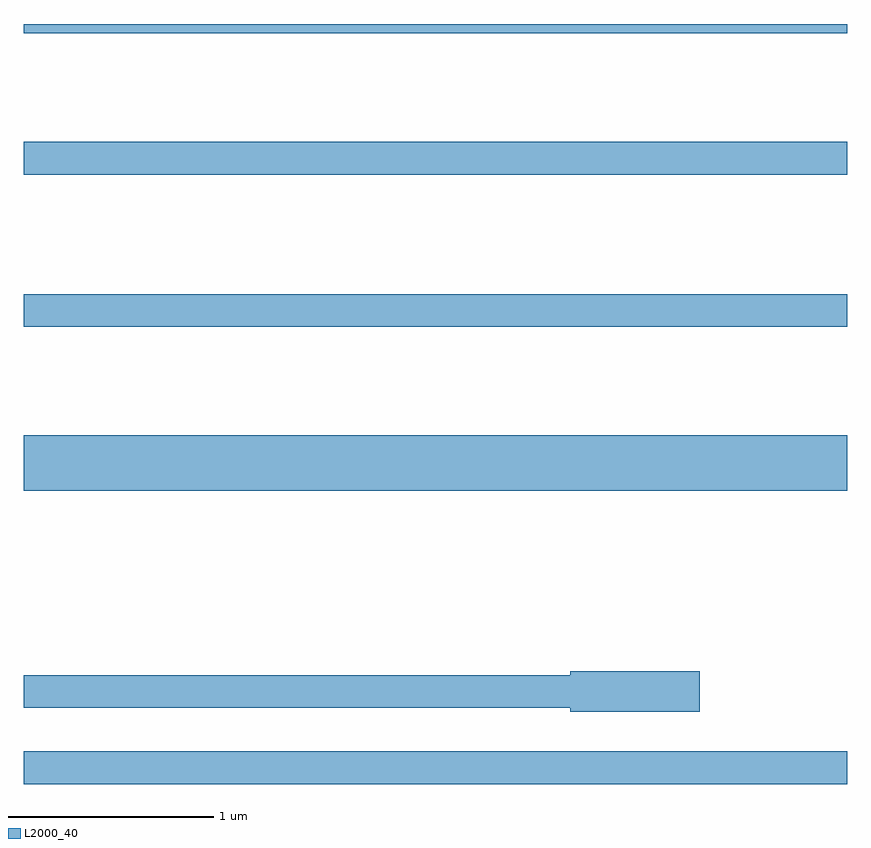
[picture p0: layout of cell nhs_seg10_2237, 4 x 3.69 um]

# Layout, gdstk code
import gdstk
lib = gdstk.Library(unit=1e-6, precision=1e-09)
def R(c, l, rs):  # rectangles x0, y0, x1, y1
    for r in rs: c.add(gdstk.rectangle(r[:2], r[2:], *l))
def P(c, l, *ps):  # polygons
    for p in ps: c.add(gdstk.Polygon(p, *l))
L2000_40 = (2000, 40)

nhs_seg10_2237 = lib.new_cell('nhs_seg10_2237')
R(nhs_seg10_2237, L2000_40, [(249.611,2216.831,253.611,2216.989), (249.611,2218.256,253.611,2218.524), (249.611,2219.051,253.611,2219.209), (249.611,2219.791,253.611,2219.949), (249.611,2220.476,253.611,2220.522)])
P(nhs_seg10_2237, L2000_40, [(252.894,2217.379),(252.266,2217.379),(252.266,2217.359),(249.611,2217.359),(249.611,2217.201),(252.266,2217.201),(252.266,2217.181),(252.894,2217.181)])

lib.write_gds('nhs_seg10_2237.gds')
